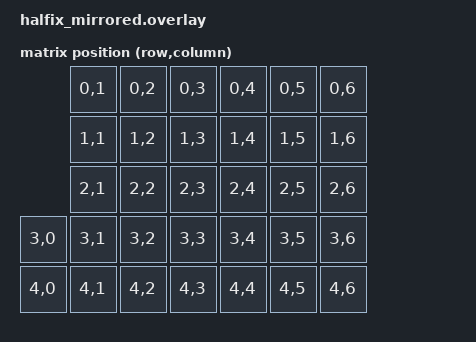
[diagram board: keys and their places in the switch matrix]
/*
 * Copyright (c) 2020 The ZMK Contributors
 *
 * SPDX-License-Identifier: MIT
 */

#include <dt-bindings/zmk/matrix_transform.h>
#include <physical_layouts.dtsi>

#include "../felix/felix_common.dtsi"
#include "../felix/felix_right_cols.dtsi"

/*
 * Halfix Mirrored: a right Felix PCB as a standalone keyboard. The two extra keys sit in
 * the left-most (inner) column, matrix column 0.
 *
 *        | SW6  | SW5  | SW4  | SW3  | SW2  | SW1  |
 *        | SW12 | SW11 | SW10 | SW9  | SW8  | SW7  |
 *        | SW18 | SW17 | SW16 | SW15 | SW14 | SW13 |
 * | SW25 | SW24 | SW23 | SW22 | SW21 | SW20 | SW19 |
 * | SW32 | SW31 | SW30 | SW29 | SW28 | SW27 | SW26 |
 *
 * The inner keys come last in rows 3 and 4, matching halfix, so both shields share
 * halfix.keymap: key positions 24 and 31 are the inner extra keys on either half.
 */

/ {
    chosen {
        zmk,physical-layout = &halfix_mirrored_layout;
    };

    halfix_mirrored_transform: keymap_transform_0 {
        compatible = "zmk,matrix-transform";
        columns = <7>;
        rows = <5>;
        map = <
RC(0,1) RC(0,2) RC(0,3) RC(0,4) RC(0,5) RC(0,6)
RC(1,1) RC(1,2) RC(1,3) RC(1,4) RC(1,5) RC(1,6)
RC(2,1) RC(2,2) RC(2,3) RC(2,4) RC(2,5) RC(2,6)
RC(3,1) RC(3,2) RC(3,3) RC(3,4) RC(3,5) RC(3,6) RC(3,0)
RC(4,1) RC(4,2) RC(4,3) RC(4,4) RC(4,5) RC(4,6) RC(4,0)
        >;
    };

    halfix_mirrored_layout: halfix_mirrored_layout {
        compatible = "zmk,physical-layout";
        display-name = "Halfix Mirrored";
        kscan = <&kscan0>;
        transform = <&halfix_mirrored_transform>;

        keys  //                     w   h    x    y     rot    rx    ry
        = <&key_physical_attrs 100 100  100    0       0     0     0>
        , <&key_physical_attrs 100 100  200    0       0     0     0>
        , <&key_physical_attrs 100 100  300    0       0     0     0>
        , <&key_physical_attrs 100 100  400    0       0     0     0>
        , <&key_physical_attrs 100 100  500    0       0     0     0>
        , <&key_physical_attrs 100 100  600    0       0     0     0>
        , <&key_physical_attrs 100 100  100  100       0     0     0>
        , <&key_physical_attrs 100 100  200  100       0     0     0>
        , <&key_physical_attrs 100 100  300  100       0     0     0>
        , <&key_physical_attrs 100 100  400  100       0     0     0>
        , <&key_physical_attrs 100 100  500  100       0     0     0>
        , <&key_physical_attrs 100 100  600  100       0     0     0>
        , <&key_physical_attrs 100 100  100  200       0     0     0>
        , <&key_physical_attrs 100 100  200  200       0     0     0>
        , <&key_physical_attrs 100 100  300  200       0     0     0>
        , <&key_physical_attrs 100 100  400  200       0     0     0>
        , <&key_physical_attrs 100 100  500  200       0     0     0>
        , <&key_physical_attrs 100 100  600  200       0     0     0>
        , <&key_physical_attrs 100 100  100  300       0     0     0>
        , <&key_physical_attrs 100 100  200  300       0     0     0>
        , <&key_physical_attrs 100 100  300  300       0     0     0>
        , <&key_physical_attrs 100 100  400  300       0     0     0>
        , <&key_physical_attrs 100 100  500  300       0     0     0>
        , <&key_physical_attrs 100 100  600  300       0     0     0>
        , <&key_physical_attrs 100 100    0  300       0     0     0>
        , <&key_physical_attrs 100 100  100  400       0     0     0>
        , <&key_physical_attrs 100 100  200  400       0     0     0>
        , <&key_physical_attrs 100 100  300  400       0     0     0>
        , <&key_physical_attrs 100 100  400  400       0     0     0>
        , <&key_physical_attrs 100 100  500  400       0     0     0>
        , <&key_physical_attrs 100 100  600  400       0     0     0>
        , <&key_physical_attrs 100 100    0  400       0     0     0>
            ;
    };
};
